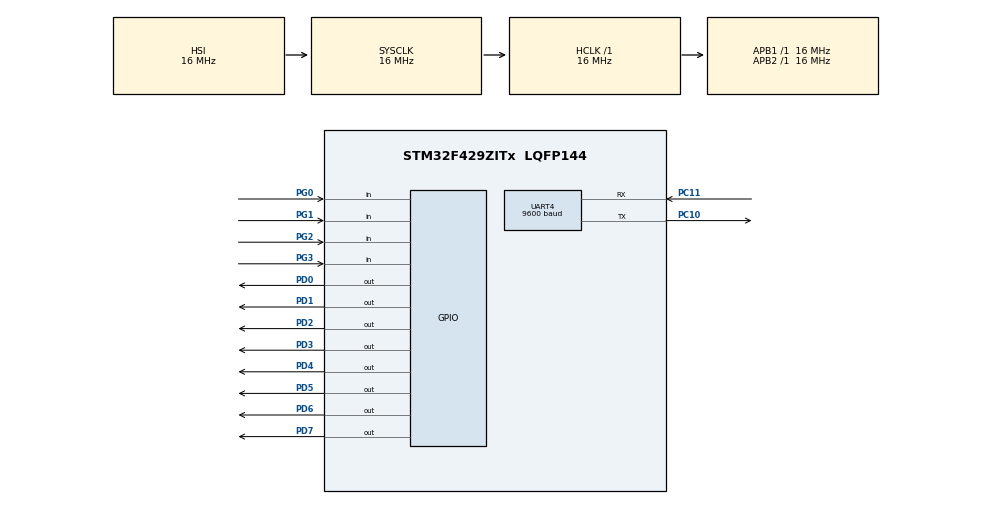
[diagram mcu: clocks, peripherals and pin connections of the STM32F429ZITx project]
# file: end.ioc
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Mcu.Family=STM32F4
Mcu.Name=STM32F429ZITx
Mcu.Package=LQFP144
NVIC.PriorityGroup=NVIC_PRIORITYGROUP_4
PA13.Mode=Serial_Wire
PA13.Signal=SYS_JTMS-SWDIO
PA14.Mode=Serial_Wire
PA14.Signal=SYS_JTCK-SWCLK
PC10.Mode=Asynchronous
PC10.Signal=UART4_TX
PC11.Mode=Asynchronous
PC11.Signal=UART4_RX
PD0.GPIO_ModeDefaultOutputPP=GPIO_MODE_OUTPUT_PP
PD0.GPIO_PuPd=GPIO_PULLUP
PD0.GPIO_Speed=GPIO_SPEED_FREQ_HIGH
PD0.PinState=GPIO_PIN_RESET
PD0.Signal=GPIO_Output
PD1.GPIO_ModeDefaultOutputPP=GPIO_MODE_OUTPUT_PP
PD1.GPIO_PuPd=GPIO_PULLUP
PD1.GPIO_Speed=GPIO_SPEED_FREQ_HIGH
PD1.PinState=GPIO_PIN_RESET
PD1.Signal=GPIO_Output
PD2.GPIO_ModeDefaultOutputPP=GPIO_MODE_OUTPUT_PP
PD2.GPIO_PuPd=GPIO_PULLUP
PD2.GPIO_Speed=GPIO_SPEED_FREQ_HIGH
PD2.PinState=GPIO_PIN_RESET
PD2.Signal=GPIO_Output
PD3.GPIO_ModeDefaultOutputPP=GPIO_MODE_OUTPUT_PP
PD3.GPIO_PuPd=GPIO_PULLUP
PD3.GPIO_Speed=GPIO_SPEED_FREQ_HIGH
PD3.PinState=GPIO_PIN_RESET
PD3.Signal=GPIO_Output
PD4.GPIO_ModeDefaultOutputPP=GPIO_MODE_OUTPUT_PP
PD4.GPIO_PuPd=GPIO_PULLUP
PD4.GPIO_Speed=GPIO_SPEED_FREQ_HIGH
PD4.PinState=GPIO_PIN_RESET
PD4.Signal=GPIO_Output
PD5.GPIO_ModeDefaultOutputPP=GPIO_MODE_OUTPUT_PP
PD5.GPIO_PuPd=GPIO_PULLUP
PD5.GPIO_Speed=GPIO_SPEED_FREQ_HIGH
PD5.PinState=GPIO_PIN_RESET
PD5.Signal=GPIO_Output
PD6.GPIO_ModeDefaultOutputPP=GPIO_MODE_OUTPUT_PP
PD6.GPIO_PuPd=GPIO_PULLUP
PD6.GPIO_Speed=GPIO_SPEED_FREQ_HIGH
PD6.PinState=GPIO_PIN_RESET
PD6.Signal=GPIO_Output
PD7.GPIO_PuPd=GPIO_PULLUP
PD7.GPIO_Speed=GPIO_SPEED_FREQ_HIGH
PD7.Signal=GPIO_Output
PG0.GPIO_Mode=GPIO_MODE_INPUT
PG0.GPIO_PuPd=GPIO_PULLDOWN
PG0.Signal=GPIO_Input
PG1.GPIO_Mode=GPIO_MODE_INPUT
PG1.GPIO_PuPd=GPIO_PULLDOWN
PG1.Signal=GPIO_Input
PG2.GPIO_Mode=GPIO_MODE_INPUT
PG2.GPIO_PuPd=GPIO_PULLDOWN
PG2.Signal=GPIO_Input
PG3.GPIO_Mode=GPIO_MODE_INPUT
PG3.GPIO_PuPd=GPIO_PULLDOWN
PG3.Signal=GPIO_Input
ProjectManager.HeapSize=0x200
ProjectManager.StackSize=0x400
ProjectManager.TargetToolchain=STM32CubeIDE
RCC.AHBFreq_Value=16000000
RCC.APB1Freq_Value=16000000
RCC.APB2Freq_Value=16000000
RCC.CortexFreq_Value=16000000
RCC.HSE_VALUE=25000000
RCC.HSI_VALUE=16000000
RCC.LSE_VALUE=32768
RCC.SYSCLKFreq_VALUE=16000000
RCC.VCOOutputFreq_Value=192000000
UART4.BaudRate=9600
UART4.VirtualMode=Asynchronous
board=custom

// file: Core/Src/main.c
/* USER CODE BEGIN Header */
/**
  ******************************************************************************
  * @file           : main.c
  * @brief          : Main program body
  ******************************************************************************
  * @attention
  *
  * Copyright (c) 2022 STMicroelectronics.
  * All rights reserved.
  *
  * This software is licensed under terms that can be found in the LICENSE file
  * in the root directory of this software component.
  * If no LICENSE file comes with this software, it is provided AS-IS.
  *
  ******************************************************************************
  */
/* USER CODE END Header */
#include "main.h"

UART_HandleTypeDef huart4;

/* USER CODE BEGIN PV */
uint8_t TxBuffer[] = "\n\rUART Example (Transmission Success !!)\n\r\n\r";
uint8_t TxBuffer_L[] = "L";
uint8_t TxBuffer_H[] = "H";
// uint8_t RxBuffer_UART3[RxBufferSize];
uint8_t RxBuffer_UART4[] = "0";

/* USER CODE END PV */

void SystemClock_Config(void);
static void MX_GPIO_Init(void);
static void MX_UART4_Init(void);
/* USER CODE BEGIN PFP */
void LED_OnOff(int,int);
/* USER CODE END PFP */

int main(void)
{
  /* USER CODE BEGIN 1 */
   uint16_t led = 0x01;

  /* USER CODE END 1 */

  /* MCU Configuration--------------------------------------------------------*/

  /* Reset of all peripherals, Initializes the Flash interface and the Systick. */
  HAL_Init();

  /* Configure the system clock */
  SystemClock_Config();

  /* Initialize all configured peripherals */
  MX_GPIO_Init();
  MX_UART4_Init();
  /* USER CODE BEGIN 2 */
  LED_OnOff(LED_ALL, 500);

  /* USER CODE END 2 */

  /* Infinite loop */
  /* USER CODE BEGIN WHILE */
  while (1)
  {
	  HAL_UART_Transmit(&huart4, (uint8_t*)TxBuffer_H, 1, 0xFF);
	  HAL_Delay(10);
	  if( HAL_UART_Receive(&huart4, (uint8_t*)RxBuffer_UART4, 1, 0xFF) == HAL_OK ) {
		  if ( strcmp(RxBuffer_UART4, "H") == 0 ) {
			  HAL_GPIO_WritePin(GPIO_LED, LED_ALL, GPIO_PIN_SET);
			  HAL_Delay(500);
			  HAL_GPIO_WritePin(GPIO_LED, LED_ALL, GPIO_PIN_RESET);
		  }
		  else if ( strcmp(RxBuffer_UART4, "L") == 0 ) {
			  HAL_GPIO_WritePin(GPIO_LED, LED_ALL, GPIO_PIN_SET);
			  HAL_Delay(500);
			  HAL_GPIO_WritePin(GPIO_LED, LED_ALL, GPIO_PIN_RESET);
		  }
		  else if ( strcmp(RxBuffer_UART4, "A") == 0 ) {
			  led <<=1;
			  if(led >0x80) led = 0x01;
			  LED_OnOff(led,100);
			  HAL_GPIO_WritePin(GPIO_LED, LED_ALL, GPIO_PIN_RESET);
		  }
		  else if ( strcmp(RxBuffer_UART4, "K") == 0 ) {
			  led >>=1;
			  if(led <0x01) led = 0x80;
			  LED_OnOff(led,100);
			  HAL_GPIO_WritePin(GPIO_LED, LED_ALL, GPIO_PIN_RESET);
		  }
	  }

	  HAL_UART_Transmit(&huart4, (uint8_t*)TxBuffer_L, 1, 0xFF);
	  HAL_Delay(10);
	  if( HAL_UART_Receive(&huart4, (uint8_t*)RxBuffer_UART4, 1, 0xFF) == HAL_OK ) {
		  if ( strcmp(RxBuffer_UART4, "H") == 0 ) {
			  HAL_GPIO_WritePin(GPIO_LED, LED_ALL, GPIO_PIN_SET);
			  HAL_Delay(500);
			  HAL_GPIO_WritePin(GPIO_LED, LED_ALL, GPIO_PIN_RESET);
		  }
		  else if ( strcmp(RxBuffer_UART4, "L") == 0 ) {
			  HAL_GPIO_WritePin(GPIO_LED, LED_ALL, GPIO_PIN_SET);
			  HAL_Delay(500);
			  HAL_GPIO_WritePin(GPIO_LED, LED_ALL, GPIO_PIN_RESET);
		  }
		  else if ( strcmp(RxBuffer_UART4, "A") == 0 ) {
			  led <<=1;
			  if(led >0x80) led = 0x01;
			  LED_OnOff(led,100);
			  HAL_GPIO_WritePin(GPIO_LED, LED_ALL, GPIO_PIN_RESET);
		  }
		  else if ( strcmp(RxBuffer_UART4, "K") == 0 ) {
			  led >>= 1;
			  if(led <0x01) led = 0x80;
			  LED_OnOff(led,100);
			  HAL_GPIO_WritePin(GPIO_LED, LED_ALL, GPIO_PIN_RESET);
		  }
  	  }

	  // --- (1) End : Falling 방식 ------ //;

    /* USER CODE END WHILE */

  }
}

void SystemClock_Config(void)
{
  RCC_OscInitTypeDef RCC_OscInitStruct = {0};
  RCC_ClkInitTypeDef RCC_ClkInitStruct = {0};

  /** Configure the main internal regulator output voltage
  */
  __HAL_RCC_PWR_CLK_ENABLE();
  __HAL_PWR_VOLTAGESCALING_CONFIG(PWR_REGULATOR_VOLTAGE_SCALE3);

  /** Initializes the RCC Oscillators according to the specified parameters
  * in the RCC_OscInitTypeDef structure.
  */
  RCC_OscInitStruct.OscillatorType = RCC_OSCILLATORTYPE_HSI;
  RCC_OscInitStruct.HSIState = RCC_HSI_ON;
  RCC_OscInitStruct.HSICalibrationValue = RCC_HSICALIBRATION_DEFAULT;
  RCC_OscInitStruct.PLL.PLLState = RCC_PLL_NONE;
  if (HAL_RCC_OscConfig(&RCC_OscInitStruct) != HAL_OK)
  {
    Error_Handler();
  }

  /** Initializes the CPU, AHB and APB buses clocks
  */
  RCC_ClkInitStruct.ClockType = RCC_CLOCKTYPE_HCLK|RCC_CLOCKTYPE_SYSCLK
                              |RCC_CLOCKTYPE_PCLK1|RCC_CLOCKTYPE_PCLK2;
  RCC_ClkInitStruct.SYSCLKSource = RCC_SYSCLKSOURCE_HSI;
  RCC_ClkInitStruct.AHBCLKDivider = RCC_SYSCLK_DIV1;
  RCC_ClkInitStruct.APB1CLKDivider = RCC_HCLK_DIV1;
  RCC_ClkInitStruct.APB2CLKDivider = RCC_HCLK_DIV1;

  if (HAL_RCC_ClockConfig(&RCC_ClkInitStruct, FLASH_LATENCY_0) != HAL_OK)
  {
    Error_Handler();
  }
}

static void MX_UART4_Init(void)
{

  huart4.Instance = UART4;
  huart4.Init.BaudRate = 9600;
  huart4.Init.WordLength = UART_WORDLENGTH_8B;
  huart4.Init.StopBits = UART_STOPBITS_1;
  huart4.Init.Parity = UART_PARITY_NONE;
  huart4.Init.Mode = UART_MODE_TX_RX;
  huart4.Init.HwFlowCtl = UART_HWCONTROL_NONE;
  huart4.Init.OverSampling = UART_OVERSAMPLING_16;
  if (HAL_UART_Init(&huart4) != HAL_OK)
  {
    Error_Handler();
  }

}

static void MX_GPIO_Init(void)
{
  GPIO_InitTypeDef GPIO_InitStruct = {0};

  /* GPIO Ports Clock Enable */
  __HAL_RCC_GPIOG_CLK_ENABLE();
  __HAL_RCC_GPIOA_CLK_ENABLE();
  __HAL_RCC_GPIOC_CLK_ENABLE();
  __HAL_RCC_GPIOD_CLK_ENABLE();

  /*Configure GPIO pin Output Level */
  HAL_GPIO_WritePin(GPIOD, GPIO_PIN_0|GPIO_PIN_1|GPIO_PIN_2|GPIO_PIN_3
                          |GPIO_PIN_4|GPIO_PIN_5|GPIO_PIN_6|GPIO_PIN_7, GPIO_PIN_RESET);

  /*Configure GPIO pins : PG0 PG1 PG2 PG3 */
  GPIO_InitStruct.Pin = GPIO_PIN_0|GPIO_PIN_1|GPIO_PIN_2|GPIO_PIN_3;
  GPIO_InitStruct.Mode = GPIO_MODE_INPUT;
  GPIO_InitStruct.Pull = GPIO_PULLDOWN;
  HAL_GPIO_Init(GPIOG, &GPIO_InitStruct);

  /*Configure GPIO pins : PD0 PD1 PD2 PD3
                           PD4 PD5 PD6 PD7 */
  GPIO_InitStruct.Pin = GPIO_PIN_0|GPIO_PIN_1|GPIO_PIN_2|GPIO_PIN_3
                          |GPIO_PIN_4|GPIO_PIN_5|GPIO_PIN_6|GPIO_PIN_7;
  GPIO_InitStruct.Mode = GPIO_MODE_OUTPUT_PP;
  GPIO_InitStruct.Pull = GPIO_PULLUP;
  GPIO_InitStruct.Speed = GPIO_SPEED_FREQ_HIGH;
  HAL_GPIO_Init(GPIOD, &GPIO_InitStruct);

}

/* USER CODE BEGIN 4 */
void LED_OnOff(int led, int interval)
{
	HAL_GPIO_WritePin(GPIO_LED,led, GPIO_PIN_SET);
	HAL_GPIO_WritePin(GPIO_LED_Nucleo, led, GPIO_PIN_SET);
	HAL_Delay(interval);
	HAL_GPIO_WritePin(GPIO_LED,led, GPIO_PIN_SET);
	HAL_GPIO_WritePin(GPIO_LED_Nucleo, led, GPIO_PIN_SET);

}

/* USER CODE END 4 */

void Error_Handler(void)
{
  __disable_irq();
  while (1)
  {
  }
}
